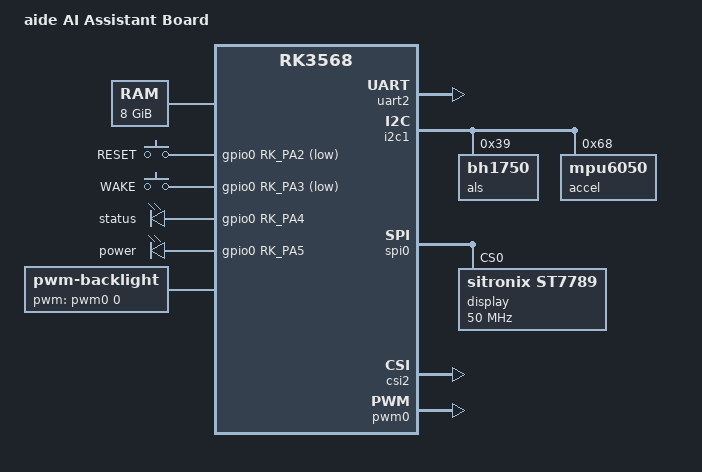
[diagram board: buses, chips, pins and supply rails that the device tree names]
/*
 * aide Device Tree for RK3568
 */

/dts-v1/;

/ {
    compatible = "rockchip,rk3568", "aide,ai-assistant";
    model = "aide AI Assistant Board";
    
    chosen {
        bootargs = "earlycon=uart8250,mmio32,0xfe660000 console=ttyS2,115200n8 rw root=PARTUUID=rootfs";
        stdout-path = "serial2:115200n8";
    };

    /* 内存 */
    memory@0 {
        device_type = "memory";
        reg = <0x0 0x0 0x2 0x00000000>; /* 2GB */
    };

    /* CPU */
    cpu0: cpu@0 {
        device_type = "cpu";
        compatible = "arm,cortex-a55";
        reg = <0x0 0x0>;
        enable-method = "psci";
        clocks = <&cru CLK_CPU>;
    };

    cpu1: cpu@1 {
        device_type = "cpu";
        compatible = "arm,cortex-a55";
        reg = <0x0 0x1>;
        enable-method = "psci";
    };

    cpu2: cpu@2 {
        device_type = "cpu";
        compatible = "arm,cortex-a55";
        reg = <0x0 0x2>;
        enable-method = "psci";
    };

    cpu3: cpu@3 {
        device_type = "cpu";
        compatible = "arm,cortex-a55";
        reg = <0x0 0x3>;
        enable-method = "psci";
    };

    /* 时钟 */
    clocks {
        compatible = "simple-bus";
        #address-cells = <1>;
        #size-cells = <0>;

        cru: cru@fe150000 {
            compatible = "rockchip,rk3568-cru";
            reg = <0x0 0xfe150000 0x0 0x10000>;
            #clock-cells = <1>;
        };
    };

    /* 串口 (UART) */
    uart2: serial@fe660000 {
        compatible = "rockchip,rk3568-uart", "snps,dw-apb-uart";
        reg = <0x0 0xfe660000 0x0 0x100>;
        interrupts = <GIC_SPI 149 IRQ_TYPE_LEVEL_HIGH>;
        clock-frequency = <24000000>;
        reg-shift = <2>;
        reg-io-width = <4>;
        status = "okay";
    };

    /* GPIO 按键 */
    gpio_keys {
        compatible = "gpio-keys";
        autorepeat;

        btn-reset {
            label = "RESET";
            linux,code = <116>; /* KEY_POWER */
            gpios = <&gpio0 RK_PA2 GPIO_ACTIVE_LOW>;
        };

        btn-wake {
            label = "WAKE";
            linux,code = <143>; /* KEY_WAKEUP */
            gpios = <&gpio0 RK_PA3 GPIO_ACTIVE_LOW>;
        };
    };

    /* LED */
    leds {
        compatible = "gpio-leds";
        
        led-status {
            label = "status";
            gpios = <&gpio0 RK_PA4 GPIO_ACTIVE_HIGH>;
            default-state = "on";
        };

        led-power {
            label = "power";
            gpios = <&gpio0 RK_PA5 GPIO_ACTIVE_HIGH>;
            default-state = "off";
        };
    };

    /* I2C 总线 - 传感器 */
    i2c1: i2c@fe5a0000 {
        compatible = "rockchip,rk3568-i2c";
        reg = <0x0 0xfe5a0000 0x0 0x1000>;
        interrupts = <GIC_SPI 60 IRQ_TYPE_LEVEL_HIGH>;
        #address-cells = <1>;
        #size-cells = <0>;
        status = "okay";

        /* 光 sensor */
        als@39 {
            compatible = "bh1750";
            reg = <0x39>;
        };

        /* 加速度计 */
        accel@68 {
            compatible = "mpu6050";
            reg = <0x68>;
        };
    };

    /* SPI - 屏幕 */
    spi0: spi@fe6c0000 {
        compatible = "rockchip,rk3568-spi";
        reg = <0x0 0xfe6c0000 0x0 0x1000>;
        interrupts = <GIC_SPI 70 IRQ_TYPE_LEVEL_HIGH>;
        #address-cells = <1>;
        #size-cells = <0>;
        status = "okay";

        display@0 {
            compatible = "sitronix,st7789";
            reg = <0x0>;
            spi-max-frequency = <50000000>;
            display-timings = <&timing0>;
        };

        timing0: timing {
            timing-width = <320>;
            timing-height = <480>;
            timing-hfront-porch = <20>;
            timing-hback-porch = <10>;
            timing-hsync-len = <10>;
            timing-vfront-porch = <14>;
            timing-vback-porch = <20>;
            timing-vsync-len = <4>;
        };
    };

    /* CSI 摄像头 */
    csi2: csi2@fe770000 {
        compatible = "rockchip,rk3568-csi2";
        reg = <0x0 0xfe770000 0x0 0x1000>;
        interrupts = <GIC_SPI 94 IRQ_TYPE_LEVEL_HIGH>;
        status = "okay";

        ports {
            #address-cells = <1>;
            #size-cells = <0>;

            port@0 {
                reg = <0>;
            };
        };
    };

    /* WiFi */
    wifi: wifi {
        compatible = "realtek,rtl8189fs";
        status = "okay";
    };

    /* 蓝牙 */
    bluetooth {
        compatible = "realtek,rtl8723ds";
        status = "okay";
    };

    /* 音频编解码 */
    es8388: es8388@10 {
        compatible = "everest,es8388";
        reg = <0x10>;
        status = "okay";
    };

    /* PWM 背光 */
    backlight {
        compatible = "pwm-backlight";
        pwms = <&pwm0 0 25000>;
        brightness-levels = <0 32 64 128 255>;
        default-brightness-level = <200>;
    };

    pwm0: pwm@fe6e0030 {
        compatible = "rockchip,rk3568-pwm";
        reg = <0x0 0xfe6e0030 0x0 0x10>;
        #pwm-cells = <3>;
        status = "okay";
    };

    /* PMU */
    pmu {
        compatible = "rockchip,rk3568-pmu";
        status = "okay";
    };

    /* 中断控制器 */
    gic: interrupt-controller@fd400000 {
        compatible = "arm,gic-v3";
        #interrupt-cells = <3>;
        #address-cells = <1>;
        #size-cells = <1>;
        interrupt-controller;
        reg = <0x0 0xfd400000 0x0 0x10000>,
              <0x0 0xfd460000 0x0 0x20000>;
    };
};
